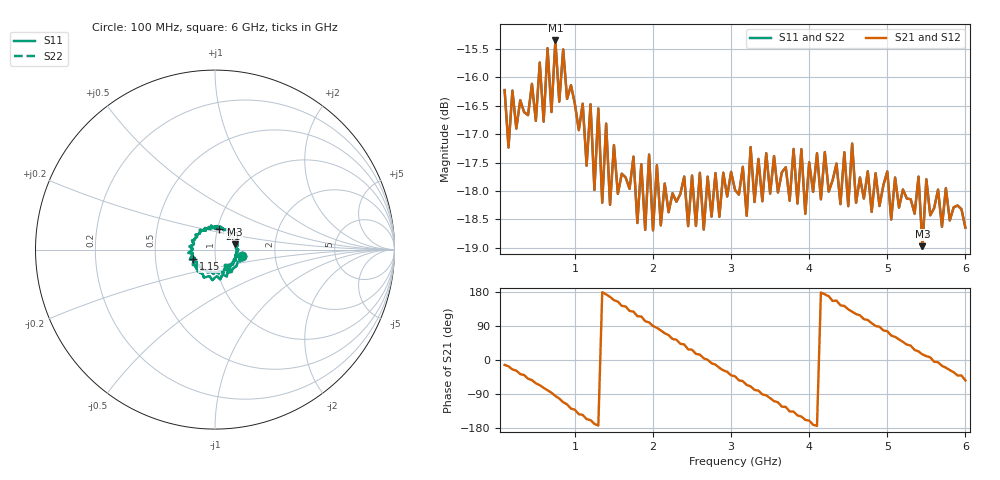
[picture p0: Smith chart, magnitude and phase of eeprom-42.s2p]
! Created with skrf 2.0.0 (http://scikit-rf.org).
# Hz S RI R 50.0
!freq ReS11 ImS11 ReS21 ImS21 ReS12 ImS12 ReS22 ImS22
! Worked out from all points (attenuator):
!   119 points, 100 MHz to 6 GHz, reference 50 ohm
!   highest |S21| = -15.35 dB at 750 MHz (marker M1); lowest = -19.0 dB at 5.45 GHz (marker M2)
!   lowest |S11| = -19.0 dB at 5.45 GHz (marker M3), VSWR 1.25, Z = 62.1 + j3.61 ohm
!   |S11| at or under -10 dB: start of sweep to end of sweep
!   |S22| runs from -19.0 to -15.4 dB; largest |S21 - S12| = 0
!   S11 on the Smith chart (normalised r, x): 100 MHz: 1.35, -0.10; 1.15 GHz: 0.78, -0.09; 2.1 GHz: 1.02, +0.24; 6 GHz: 1.13, -0.22
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1e8  0.1505 -0.0348  0.1505 -0.0348  0.1505 -0.0348  0.1505 -0.0348
6e8  0.0411 -0.1389  0.0411 -0.1389  0.0411 -0.1389  0.0411 -0.1389
7.5e8  -0.0147 -0.1701  -0.0147 -0.1701  -0.0147 -0.1701  -0.0147 -0.1701
1.1e9  -0.123 -0.0862  -0.123 -0.0862  -0.123 -0.0862  -0.123 -0.0862
1.15e9  -0.1211 -0.0539  -0.1211 -0.0539  -0.1211 -0.0539  -0.1211 -0.0539
1.2e9  -0.1398 -0.0546  -0.1398 -0.0546  -0.1398 -0.0546  -0.1398 -0.0546
1.25e9  -0.1237 -0.025  -0.1237 -0.025  -0.1237 -0.025  -0.1237 -0.025
1.3e9  -0.1477 -0.0179  -0.1477 -0.0179  -0.1477 -0.0179  -0.1477 -0.0179
1.35e9  -0.1229 0.00234  -0.1229 0.00234  -0.1229 0.00234  -0.1229 0.00234
1.4e9  -0.1433 0.0172  -0.1433 0.0172  -0.1433 0.0172  -0.1433 0.0172
1.5e9  -0.1281 0.0517  -0.1281 0.0517  -0.1281 0.0517  -0.1281 0.0517
2.1e9  0.0241 0.1149  0.0241 0.1149  0.0241 0.1149  0.0241 0.1149
2.6e9  0.1267 0.0319  0.1267 0.0319  0.1267 0.0319  0.1267 0.0319
3.05e9  0.0924 -0.0859  0.0924 -0.0859  0.0924 -0.0859  0.0924 -0.0859
3.45e9  -0.00778 -0.1357  -0.00778 -0.1357  -0.00778 -0.1357  -0.00778 -0.1357
4.05e9  -0.1241 -0.0199  -0.1241 -0.0199  -0.1241 -0.0199  -0.1241 -0.0199
4.55e9  -0.0842 0.1101  -0.0842 0.1101  -0.0842 0.1101  -0.0842 0.1101
5.05e9  0.0509 0.1074  0.0509 0.1074  0.0509 0.1074  0.0509 0.1074
5.4e9  0.1196 0.05  0.1196 0.05  0.1196 0.05  0.1196 0.05
5.45e9  0.1089 0.0287  0.1089 0.0287  0.1089 0.0287  0.1089 0.0287
5.5e9  0.1268 0.0231  0.1268 0.0231  0.1268 0.0231  0.1268 0.0231
6e9  0.0687 -0.0945  0.0687 -0.0945  0.0687 -0.0945  0.0687 -0.0945
